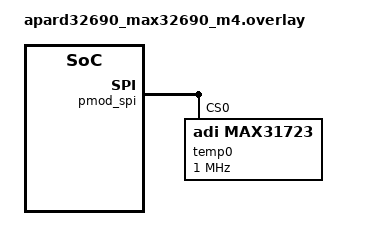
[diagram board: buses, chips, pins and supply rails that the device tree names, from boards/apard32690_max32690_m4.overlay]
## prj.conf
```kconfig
# Copyright (c) 2021 Nordic Semiconductor ASA
# SPDX-License-Identifier: Apache-2.0
#
# This file contains selected Kconfig options for the application.

# Enable STDOUT early during boot time for debug
# CONFIG_EARLY_CONSOLE=y

# Enable Logging
CONFIG_LOG=y
CONFIG_LOG_MODE_IMMEDIATE=y

# Debugging
CONFIG_DEBUG=y
CONFIG_NO_OPTIMIZATIONS=y
CONFIG_SYMTAB=y

# Print boot banner
CONFIG_BOOT_BANNER=y

# Stack overflow unless this is done... FIXME figure out why!
CONFIG_MAIN_STACK_SIZE=4096

CONFIG_SENSOR=y
CONFIG_MAX31723=y
```

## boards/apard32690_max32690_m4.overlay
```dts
/*
 * Copyright (c) 2025 Analog Devices, Inc
 * SPDX-License-Identifier: Apache-2.0
 */

/* This devicetree overlay file will be automatically picked by the Zephyr
 * build system when building the sample for the apard32690 board. 
 */

/ {
    aliases {
        ambient-temp0 = &temp0;
    };
};

&pmod_spi {
    status = "okay";

    temp0: max31723@0 {
        compatible = "adi,max31723";
        status = "okay";
        reg = <0>;
        spi-max-frequency = <1000000>;
        // oneshot_mode;
        resolution = <3>;
        thermostat_mode = <1>;
    };
};
```

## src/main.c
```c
/*
 * Copyright (c) 2021 Nordic Semiconductor ASA
 * SPDX-License-Identifier: Apache-2.0
 */

#include <zephyr/kernel.h>
#include <zephyr/drivers/sensor.h>
#include <zephyr/logging/log.h>

#include <app_version.h>

LOG_MODULE_REGISTER(main, CONFIG_APP_LOG_LEVEL);

int main(void)
{
	int ret = 0;
	const struct device *sensor = DEVICE_DT_GET(DT_ALIAS(ambient_temp0));
	struct sensor_value last_val = { 0 };
	struct sensor_value val = { 0 };

	printk("Zephyr Example Application %s\n", APP_VERSION_STRING);
	printk("Reached and executing main...\n");

	if (!device_is_ready(sensor)) {
		LOG_ERR("Sensor not ready");
		return 0;
	}
	else {
		printk("Sensor successfully initialized...\n");
	}

	while (1) {
		ret = sensor_sample_fetch(sensor);
		if (ret < 0) {
			LOG_ERR("Could not fetch sample (%d)", ret);
			return 0;
		}
		else {
			LOG_DBG("Sample received\n");
		}

		ret = sensor_channel_get(sensor, SENSOR_CHAN_AMBIENT_TEMP, &val);
		if (ret < 0) {
			LOG_ERR("Could not get sample (%d)", ret);
			return 0;
		}
		else {
			LOG_DBG("Sample decoded\n");
		}

		printk("Temperature: int: %d frac:%d\n", val.val1, val.val2);
		last_val = val;

		k_sleep(K_MSEC(1000));
	}

	return 0;
}
```
